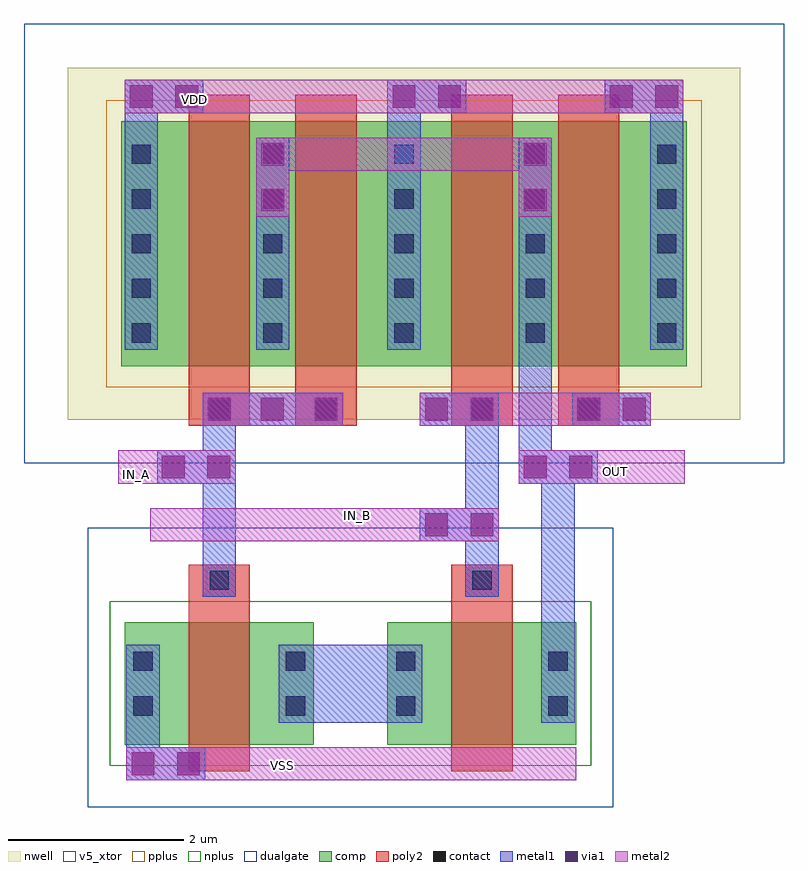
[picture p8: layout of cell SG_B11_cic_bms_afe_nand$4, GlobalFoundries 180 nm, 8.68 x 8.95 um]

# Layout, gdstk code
import gdstk
lib = gdstk.Library(unit=1e-6, precision=5e-09)
def R(c, l, rs):  # rectangles x0, y0, x1, y1
    for r in rs: c.add(gdstk.rectangle(r[:2], r[2:], *l))
def A(c, l, x, y, w, h, nx, ny, dx, dy):  # array of equal rectangles
    R(c, l, [(x+i*dx, y+j*dy, x+i*dx+w, y+j*dy+h) for i in range(nx) for j in range(ny)])
nwell = (21, 0)
comp = (22, 0)
poly2 = (30, 0)
pplus = (31, 0)
nplus = (32, 0)
contact = (33, 0)
metal1 = (34, 0)
via1 = (35, 0)
metal2 = (36, 0)
dualgate = (55, 0)
v5_xtor = (112, 1)

nfet_2_8 = lib.new_cell('nfet$2$8')
R(nfet_2_8, comp, [(-0.42,0,0,1.4), (0,0,1.32,1.4), (1.32,0,1.74,1.4)])
R(nfet_2_8, poly2, [(0.31,-0.3,1.01,1.7), (0.31,1.7,1.01,2.06)])
R(nfet_2_8, nplus, [(-0.59,-0.24,1.91,1.64)])
R(nfet_2_8, contact, [(-0.32,0.335,-0.1,0.555), (1.42,0.335,1.64,0.555), (-0.32,0.845,-0.1,1.065), (1.42,0.845,1.64,1.065), (0.55,1.77,0.77,1.99)])
R(nfet_2_8, metal1, [(-0.4,0.255,-0.02,1.145), (1.34,0.255,1.72,1.145), (0.47,1.69,0.85,2.07)])
R(nfet_2_8, dualgate, [(-0.84,-0.71,2.16,2.48)])
R(nfet_2_8, v5_xtor, [(-0.84,-0.71,2.16,2.48)])

pfet_2_7 = lib.new_cell('pfet$2$7')
R(pfet_2_7, nwell, [(-1.07,-0.61,3.61,3.41)])
R(pfet_2_7, comp, [(-0.46,0,0,2.8), (0,0,2.54,2.8), (2.54,0,3,2.8)])
R(pfet_2_7, poly2, [(0.31,-0.68,1.01,-0.3), (1.53,-0.68,2.23,-0.3), (0.31,-0.3,1.01,3.1), (1.53,-0.3,2.23,3.1)])
R(pfet_2_7, pplus, [(-0.63,-0.24,3.17,3.04)])
A(pfet_2_7, contact, -0.34, 0.27, 0.22, 0.22, 3, 5, 1.5, 0.51)
R(pfet_2_7, contact, [(0.55,-0.6,0.77,-0.38), (1.77,-0.6,1.99,-0.38)])
A(pfet_2_7, metal1, -0.42, 0.19, 0.38, 2.42, 3, 1, 1.5, 0)
R(pfet_2_7, metal1, [(0.47,-0.68,0.85,-0.3), (1.69,-0.68,2.07,-0.3)])
R(pfet_2_7, dualgate, [(-1.57,-1.11,4.11,3.91), (-0.88,-1.09,3.42,3.51)])
R(pfet_2_7, v5_xtor, [(-1.57,-1.11,4.11,3.91), (-0.88,-1.09,3.42,3.51)])

sg_b11_cic_bms_afe_nand_ = lib.new_cell('SG_B11_cic_bms_afe_nand$4')
R(sg_b11_cic_bms_afe_nand_, nplus, [(1.345,-0.415,6.675,1.465)])
R(sg_b11_cic_bms_afe_nand_, metal1, [(1.535,-0.58,2.435,-0.2), (1.535,-0.58,2.435,-0.2), (3.275,0.08,4.915,0.97), (4.885,2.15,5.785,2.53), (1.885,2.81,2.785,3.19), (1.885,2.81,2.785,3.19), (6.015,2.81,6.915,3.19), (2.405,3.47,4.005,3.85), (4.885,3.47,5.785,3.85), (6.625,3.47,7.525,3.85), (3.015,5.86,3.395,6.76), (6.015,5.86,6.395,6.76), (1.515,7.04,2.415,7.42), (1.515,7.04,2.415,7.42), (4.515,7.04,5.415,7.42), (4.515,7.04,5.415,7.42), (6.995,7.04,7.895,7.42), (6.995,7.04,7.895,7.42)])
R(sg_b11_cic_bms_afe_nand_, via1, [(1.595,-0.52,1.855,-0.26), (2.115,-0.52,2.375,-0.26), (4.945,2.21,5.205,2.47), (5.465,2.21,5.725,2.47), (1.94,2.87,2.2,3.13), (2.46,2.87,2.72,3.13), (6.075,2.87,6.335,3.13), (6.595,2.87,6.855,3.13), (2.465,3.53,2.725,3.79), (3.07,3.53,3.33,3.79), (3.685,3.53,3.945,3.79), (4.945,3.53,5.205,3.79), (5.465,3.53,5.725,3.79), (6.685,3.53,6.945,3.79), (7.205,3.53,7.465,3.79), (3.075,5.92,3.335,6.18), (6.075,5.92,6.335,6.18), (3.075,6.44,3.335,6.7), (6.075,6.44,6.335,6.7), (1.575,7.1,1.835,7.36), (2.095,7.1,2.355,7.36), (4.575,7.1,4.835,7.36), (5.095,7.1,5.355,7.36), (7.055,7.1,7.315,7.36), (7.575,7.1,7.835,7.36)])
R(sg_b11_cic_bms_afe_nand_, metal2, [(1.535,-0.58,2.435,-0.2), (1.535,-0.58,2.435,-0.2), (4.885,2.15,5.785,2.53), (1.885,2.81,2.785,3.19), (1.885,2.81,2.785,3.19), (6.015,2.81,6.915,3.19), (2.405,3.47,4.005,3.85), (4.885,3.47,5.785,3.85), (6.625,3.47,7.525,3.85), (3.015,5.86,3.395,6.76), (6.015,5.86,6.395,6.76), (1.515,7.04,2.415,7.42), (1.515,7.04,2.415,7.42), (4.515,7.04,5.415,7.42), (4.515,7.04,5.415,7.42), (6.995,7.04,7.895,7.42), (6.995,7.04,7.895,7.42)])
sg_b11_cic_bms_afe_nand_.add(gdstk.FlexPath([(5.595,3.85),(5.595,1.515)], 0.38, ends="flush", simple_path=True, layer=34, datatype=0))  # metal1
sg_b11_cic_bms_afe_nand_.add(gdstk.FlexPath([(6.205,6.76),(6.205,2.81)], 0.38, ends="flush", simple_path=True, layer=34, datatype=0))  # metal1
sg_b11_cic_bms_afe_nand_.add(gdstk.FlexPath([(6.465,0.08),(6.465,3.19),(6.465,3.19),(6.465,3.19),(6.465,3.19)], 0.38, ends="flush", simple_path=True, layer=34, datatype=0))  # metal1
sg_b11_cic_bms_afe_nand_.add(gdstk.FlexPath([(2.595,3.85),(2.595,1.515)], 0.38, ends="flush", simple_path=True, layer=34, datatype=0))  # metal1
sg_b11_cic_bms_afe_nand_.add(gdstk.FlexPath([(1.725,0.97),(1.725,-0.58)], 0.38, ends="flush", simple_path=True, layer=34, datatype=0))  # metal1
sg_b11_cic_bms_afe_nand_.add(gdstk.FlexPath([(7.705,4.34),(7.705,7.42)], 0.38, ends="flush", simple_path=True, layer=34, datatype=0))  # metal1
sg_b11_cic_bms_afe_nand_.add(gdstk.FlexPath([(4.705,4.34),(4.705,7.42)], 0.38, ends="flush", simple_path=True, layer=34, datatype=0))  # metal1
sg_b11_cic_bms_afe_nand_.add(gdstk.FlexPath([(1.705,4.34),(1.705,7.42)], 0.38, ends="flush", simple_path=True, layer=34, datatype=0))  # metal1
sg_b11_cic_bms_afe_nand_.add(gdstk.FlexPath([(5.73,2.34),(1.805,2.34)], 0.38, ends="flush", simple_path=True, layer=36, datatype=0))  # metal2
sg_b11_cic_bms_afe_nand_.add(gdstk.FlexPath([(5.405,3.66),(7.005,3.66),(7.005,3.66)], 0.38, ends="flush", simple_path=True, layer=36, datatype=0))  # metal2
sg_b11_cic_bms_afe_nand_.add(gdstk.FlexPath([(2.405,3.66),(4.005,3.66),(4.005,3.66)], 0.38, ends="flush", simple_path=True, layer=36, datatype=0))  # metal2
sg_b11_cic_bms_afe_nand_.add(gdstk.FlexPath([(2.785,3),(1.44,3)], 0.38, ends="flush", simple_path=True, layer=36, datatype=0))  # metal2
sg_b11_cic_bms_afe_nand_.add(gdstk.FlexPath([(7.91,3),(6.015,3)], 0.38, ends="flush", simple_path=True, layer=36, datatype=0))  # metal2
sg_b11_cic_bms_afe_nand_.add(gdstk.FlexPath([(6.395,6.57),(3.015,6.57)], 0.38, ends="flush", simple_path=True, layer=36, datatype=0))  # metal2
sg_b11_cic_bms_afe_nand_.add(gdstk.FlexPath([(1.535,-0.39),(6.675,-0.39)], 0.38, ends="flush", simple_path=True, layer=36, datatype=0))  # metal2
sg_b11_cic_bms_afe_nand_.add(gdstk.FlexPath([(7.895,7.23),(1.515,7.23)], 0.38, ends="flush", simple_path=True, layer=36, datatype=0))  # metal2
sg_b11_cic_bms_afe_nand_.add(gdstk.Reference(nfet_2_8, (4.935,-0.175)))
sg_b11_cic_bms_afe_nand_.add(gdstk.Reference(pfet_2_7, (1.935,4.15)))
sg_b11_cic_bms_afe_nand_.add(gdstk.Reference(pfet_2_7, (4.935,4.15)))
sg_b11_cic_bms_afe_nand_.add(gdstk.Reference(nfet_2_8, (1.935,-0.175)))
sg_b11_cic_bms_afe_nand_.add(gdstk.Label('VSS', (3.315,-0.415), layer=34, texttype=10))
sg_b11_cic_bms_afe_nand_.add(gdstk.Label('VDD', (2.315,7.2), layer=34, texttype=10))
sg_b11_cic_bms_afe_nand_.add(gdstk.Label('OUT', (7.125,2.95), layer=36, texttype=10))
sg_b11_cic_bms_afe_nand_.add(gdstk.Label('IN_B', (4.17,2.44), layer=36, texttype=10))
sg_b11_cic_bms_afe_nand_.add(gdstk.Label('IN_A', (1.65,2.915), layer=36, texttype=10))

lib.write_gds('SG_B11_cic_bms_afe_nand_4.gds')
